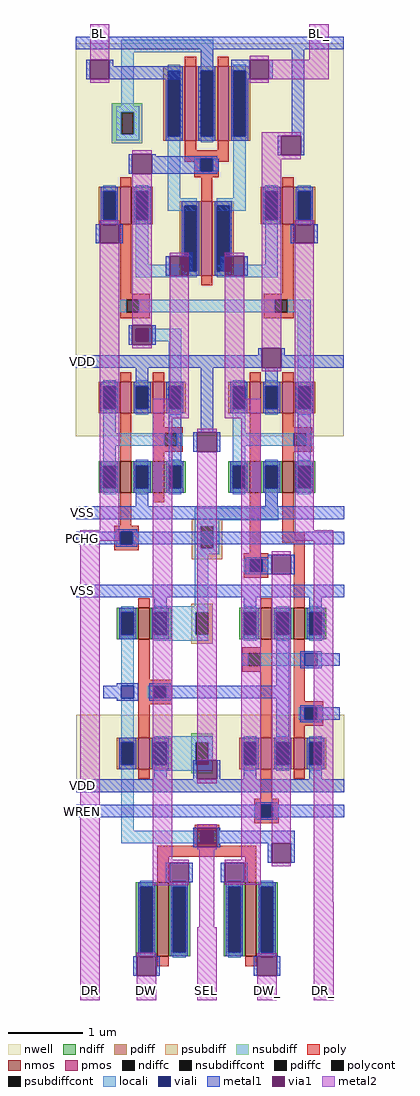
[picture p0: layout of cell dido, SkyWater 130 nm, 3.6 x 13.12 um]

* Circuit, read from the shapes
.subckt dido BL BL_ DR DR_ DW DW_ PCHG SEL VDD VSS WREN
XM1 VSS PCHG n1 VSS sky130_fd_pr__nfet_01v8 w=0.42 l=0.15
XM2 VSS not_0/A not_0/B VSS sky130_fd_pr__nfet_01v8 w=0.42 l=0.15
XM3 n2 n1 VSS VSS sky130_fd_pr__nfet_01v8 w=0.42 l=0.15
XM4 BL not_0/B DW VSS sky130_fd_pr__nfet_01v8 w=1 l=0.15
XM5 DW_ not_0/B BL_ VSS sky130_fd_pr__nfet_01v8 w=1 l=0.15
XM6 VSS SEL nand2_0/A VSS sky130_fd_pr__nfet_01v8 w=0.42 l=0.15
XM7 not_0/A WREN VSS VSS sky130_fd_pr__nfet_01v8 w=0.42 l=0.15
XM8 n3 nand2_0/A VSS VSS sky130_fd_pr__nfet_01v8 w=0.42 l=0.15
XM9 VSS nand2_0/A not_0/A VSS sky130_fd_pr__nfet_01v8 w=0.42 l=0.15
XM10 VDD PCHG n1 VDD sky130_fd_pr__pfet_01v8 w=0.42 l=0.15
XM11 BL n3 DR VDD sky130_fd_pr__pfet_01v8 w=0.5 l=0.15
XM12 VDD not_0/A not_0/B VDD sky130_fd_pr__pfet_01v8 w=0.42 l=0.15
XM13 n2 n1 VDD VDD sky130_fd_pr__pfet_01v8 w=0.42 l=0.15
XM14 VDD n2 BL VDD sky130_fd_pr__pfet_01v8 w=1 l=0.15
XM15 BL_ n2 BL VDD sky130_fd_pr__pfet_01v8 w=1 l=0.15
XM16 BL_ n2 VDD VDD sky130_fd_pr__pfet_01v8 w=1 l=0.15
XM17 VDD SEL nand2_0/A VDD sky130_fd_pr__pfet_01v8 w=0.42 l=0.15
XM18 not_0/A WREN VDD VDD sky130_fd_pr__pfet_01v8 w=0.42 l=0.15
XM19 n3 nand2_0/A VDD VDD sky130_fd_pr__pfet_01v8 w=0.42 l=0.15
XM20 DR_ n3 BL_ VDD sky130_fd_pr__pfet_01v8 w=0.5 l=0.15
XM21 VDD nand2_0/A not_0/A VDD sky130_fd_pr__pfet_01v8 w=0.42 l=0.15
.ends

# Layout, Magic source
magic
tech sky130A
magscale 1 2
<< nwell >>
rect -199 0 0 324
rect 306 290 521 324
rect 258 218 521 290
rect 19 0 262 1
rect 306 0 521 218
rect -199 -224 -174 0
rect 44 -39 262 0
rect 44 -208 46 -39
rect 480 -224 521 0
rect -199 -524 521 -224
rect -199 -732 -174 -524
rect 132 -732 174 -524
rect 480 -732 521 -524
rect -198 -1689 -125 -1481
rect 510 -1689 522 -1481
<< psubdiff >>
rect 112 -974 194 -955
rect 112 -1034 136 -974
rect 170 -1034 194 -974
rect 112 -1063 194 -1034
<< nsubdiff >>
rect -102 139 -20 163
rect -102 79 -77 139
rect -43 79 -20 139
rect -102 55 -20 79
<< psubdiffcont >>
rect 136 -1034 170 -974
<< nsubdiffcont >>
rect -77 79 -43 139
<< poly >>
rect 94 14 212 36
rect 94 6 135 14
rect 119 -20 135 6
rect 169 6 212 14
rect 169 -20 185 6
rect 119 -36 185 -20
rect 138 -75 168 -36
rect -80 -349 -50 -188
rect 356 -349 386 -162
rect -80 -365 0 -349
rect -80 -399 -64 -365
rect -30 -399 0 -365
rect -80 -415 0 -399
rect 306 -365 386 -349
rect 306 -399 336 -365
rect 370 -399 386 -365
rect 306 -415 386 -399
rect -80 -774 -50 -696
rect 8 -708 38 -696
rect 8 -724 88 -708
rect 8 -758 38 -724
rect 72 -758 88 -724
rect 8 -774 88 -758
rect 268 -775 298 -696
rect 356 -708 386 -696
rect 356 -724 436 -708
rect 356 -758 386 -724
rect 420 -758 436 -724
rect 356 -774 436 -758
rect -80 -973 -50 -910
rect -96 -989 -30 -973
rect -96 -1023 -80 -989
rect -46 -1023 -30 -989
rect -96 -1039 -30 -1023
rect 268 -1047 298 -910
rect 356 -989 386 -910
rect 356 -1019 416 -989
rect 252 -1063 318 -1047
rect 252 -1097 268 -1063
rect 302 -1097 318 -1063
rect 252 -1113 318 -1097
rect 386 -1168 416 -1019
rect 298 -1707 328 -1652
rect 280 -1723 346 -1707
rect 280 -1757 296 -1723
rect 330 -1757 346 -1723
rect 280 -1773 346 -1757
rect 120 -1793 186 -1777
rect 120 -1827 136 -1793
rect 170 -1827 186 -1793
rect 120 -1833 186 -1827
rect 20 -1863 286 -1833
rect 20 -1905 50 -1863
rect 256 -1905 286 -1863
<< polycont >>
rect 135 -20 169 14
rect -64 -399 -30 -365
rect 336 -399 370 -365
rect 38 -758 72 -724
rect 386 -758 420 -724
rect -80 -1023 -46 -989
rect 268 -1097 302 -1063
rect 296 -1757 330 -1723
rect 136 -1827 170 -1793
<< locali >>
rect -77 300 170 334
rect -77 155 -43 300
rect 136 266 170 300
rect -91 139 -29 155
rect -91 79 -77 139
rect -43 79 -29 139
rect -91 63 -29 79
rect 48 -92 82 58
rect 119 -20 135 14
rect 169 -20 185 14
rect 224 -92 258 58
rect 48 -126 126 -92
rect 180 -126 258 -92
rect -38 -271 -4 -166
rect 310 -271 344 -166
rect -38 -305 92 -271
rect 180 -305 344 -271
rect -80 -399 -64 -365
rect -30 -399 336 -365
rect 370 -399 433 -365
rect -4 -477 84 -443
rect 50 -582 84 -477
rect 398 -582 433 -399
rect -126 -724 -92 -674
rect 222 -724 256 -674
rect -126 -758 38 -724
rect 72 -758 88 -724
rect 222 -758 386 -724
rect 420 -758 436 -724
rect -126 -796 -92 -758
rect 222 -796 256 -758
rect 310 -924 344 -871
rect 120 -958 345 -924
rect 120 -974 186 -958
rect -96 -1023 -80 -989
rect -46 -1023 -30 -989
rect 120 -1034 136 -974
rect 170 -1034 186 -974
rect 120 -1050 186 -1034
rect 120 -1190 157 -1050
rect 252 -1097 268 -1063
rect 302 -1097 318 -1063
rect -77 -1793 -43 -1630
rect 280 -1757 296 -1723
rect 330 -1757 346 -1723
rect -77 -1827 136 -1793
rect 170 -1827 186 -1793
<< viali >>
rect 135 -20 169 14
rect -38 -477 -4 -443
rect -80 -1023 -46 -989
rect 268 -1097 302 -1063
rect 296 -1757 330 -1723
<< metal1 >>
rect -199 308 521 342
rect -171 228 -161 280
rect -109 262 -99 280
rect 136 262 170 308
rect 218 262 268 280
rect -109 228 82 262
rect 258 228 268 262
rect 320 228 330 280
rect 381 75 415 308
rect -57 -26 -47 26
rect 5 20 15 26
rect 343 23 353 75
rect 405 23 415 75
rect 5 14 181 20
rect 5 -20 135 14
rect 169 -20 185 14
rect 5 -26 181 -20
rect -145 -214 -135 -162
rect -83 -214 -73 -162
rect 379 -214 389 -162
rect 441 -214 451 -162
rect 43 -301 53 -249
rect 105 -301 115 -238
rect 191 -301 201 -249
rect 253 -301 263 -249
rect -57 -486 -47 -434
rect 5 -486 15 -434
rect 291 -514 301 -496
rect -199 -548 301 -514
rect 353 -514 363 -496
rect 353 -548 521 -514
rect -38 -586 -4 -548
rect 50 -800 84 -670
rect 136 -722 170 -548
rect 310 -586 344 -548
rect 117 -774 127 -722
rect 179 -774 189 -722
rect 398 -800 432 -670
rect -38 -921 -4 -872
rect 310 -921 344 -872
rect -198 -955 522 -921
rect -92 -989 -34 -983
rect -198 -1023 -80 -989
rect -46 -1023 522 -989
rect -92 -1029 -34 -1023
rect 317 -1057 327 -1051
rect 256 -1063 327 -1057
rect 256 -1097 268 -1063
rect 302 -1097 327 -1063
rect 256 -1103 327 -1097
rect 379 -1103 389 -1051
rect -198 -1165 -125 -1131
rect 510 -1165 522 -1131
rect 117 -1655 127 -1603
rect 179 -1655 189 -1603
rect -198 -1689 -125 -1655
rect 510 -1689 522 -1655
rect 284 -1723 342 -1717
rect -198 -1757 296 -1723
rect 330 -1757 522 -1723
rect 284 -1763 342 -1757
rect 117 -1837 127 -1785
rect 179 -1793 189 -1785
rect 179 -1827 389 -1793
rect 179 -1837 189 -1827
rect 317 -1879 327 -1827
rect 379 -1879 389 -1827
rect 43 -1931 53 -1879
rect 105 -1931 115 -1879
rect 191 -1931 201 -1879
rect 253 -1931 263 -1879
rect -45 -2183 -35 -2131
rect 17 -2183 27 -2131
rect 279 -2183 289 -2131
rect 341 -2183 351 -2131
<< via1 >>
rect -161 228 -109 280
rect 268 228 320 280
rect -47 -26 5 26
rect 353 23 405 75
rect -135 -214 -83 -162
rect 389 -214 441 -162
rect 53 -301 105 -249
rect 201 -301 253 -249
rect -47 -443 5 -434
rect -47 -477 -38 -443
rect -38 -477 -4 -443
rect -4 -477 5 -443
rect -47 -486 5 -477
rect 301 -548 353 -496
rect 127 -774 179 -722
rect 327 -1103 379 -1051
rect 127 -1655 179 -1603
rect 127 -1837 179 -1785
rect 327 -1879 379 -1827
rect 53 -1931 105 -1879
rect 201 -1931 253 -1879
rect -35 -2183 17 -2131
rect 289 -2183 341 -2131
<< metal2 >>
rect -161 280 -109 376
rect -161 218 -109 228
rect 268 280 320 290
rect 429 280 481 376
rect 320 228 481 280
rect 268 218 320 228
rect 301 75 405 85
rect -47 26 5 36
rect -135 -162 -83 -152
rect -135 -985 -83 -214
rect -47 -434 5 -26
rect 301 23 353 75
rect 301 13 405 23
rect -47 -496 5 -486
rect 53 -249 105 -239
rect 53 -632 105 -301
rect -187 -1013 -83 -985
rect 8 -684 105 -632
rect 201 -249 253 -239
rect 201 -632 253 -301
rect 301 -496 353 13
rect 301 -558 353 -548
rect 389 -162 441 -152
rect 201 -684 298 -632
rect -187 -2248 -135 -1013
rect 8 -1871 60 -684
rect 127 -722 179 -712
rect 127 -1603 179 -774
rect 127 -1665 179 -1655
rect 127 -1785 179 -1775
rect 127 -1843 179 -1837
rect 8 -1879 105 -1871
rect 8 -1931 53 -1879
rect 8 -1939 105 -1931
rect 133 -2053 173 -1843
rect 246 -1871 298 -684
rect 389 -985 441 -214
rect 389 -1013 493 -985
rect 201 -1879 298 -1871
rect 253 -1931 298 -1879
rect 327 -1051 379 -1041
rect 327 -1827 379 -1103
rect 327 -1889 379 -1879
rect 201 -1938 298 -1931
rect 441 -1985 493 -1013
rect -35 -2131 17 -2121
rect -35 -2248 17 -2183
rect 127 -2248 179 -2053
rect 289 -2131 341 -2122
rect 289 -2248 341 -2183
rect 441 -2248 494 -1985
use sky130_fd_pr__pfet_01v8_5SMHNA  m1 ~/Desktop/FabRAM/FE/sram130/dido
transform -1 0 109 0 1 162
box -109 -162 109 162
use sky130_fd_pr__pfet_01v8_523TXA  m4 ~/Desktop/FabRAM/FE/sram130/dido
transform 1 0 -65 0 1 -112
box -109 -112 109 112
use sky130_fd_pr__pfet_01v8_523TXA  m5
transform -1 0 371 0 1 -112
box -109 -112 109 112
use sky130_fd_pr__nfet_01v8_L8ATA9  m6 ~/Desktop/FabRAM/FE/sram130/dido
transform -1 0 35 0 1 -2031
box -73 -126 73 126
use sky130_fd_pr__nfet_01v8_L8ATA9  m7
transform 1 0 271 0 1 -2031
box -73 -126 73 126
use sky130_fd_pr__nfet_01v8_A6LSUL  m8 ~/Desktop/FabRAM/FE/sram130/common
transform -1 0 -65 0 1 -842
box -73 -68 73 68
use sky130_fd_pr__pfet_01v8_4Y88KP  m9 ~/Desktop/FabRAM/FE/sram130/common
transform -1 0 -65 0 1 -628
box -109 -104 109 104
use sky130_fd_pr__pfet_01v8_4Y88KP  m10
transform 1 0 23 0 1 -628
box -109 -104 109 104
use sky130_fd_pr__nfet_01v8_A6LSUL  m11
transform 1 0 23 0 1 -842
box -73 -68 73 68
use sky130_fd_pr__nfet_01v8_A6LSUL  m12
transform -1 0 283 0 1 -842
box -73 -68 73 68
use sky130_fd_pr__pfet_01v8_4Y88KP  m13
transform -1 0 283 0 1 -628
box -109 -104 109 104
use sky130_fd_pr__pfet_01v8_4Y88KP  m14
transform 1 0 371 0 1 -628
box -109 -104 109 104
use sky130_fd_pr__nfet_01v8_A6LSUL  m15
transform 1 0 371 0 1 -842
box -73 -68 73 68
use nand2  nand2_0 ~/Desktop/FabRAM/FE/sram130/nand2
transform -1 0 510 0 -1 -1040
box 0 91 306 649
use not  not_0 ~/Desktop/FabRAM/FE/sram130/not
transform -1 0 205 0 -1 -1040
box 0 91 330 649
use sky130_fd_pr__pfet_01v8_5SMHNA  sky130_fd_pr__pfet_01v8_5SMHNA_0
transform 1 0 197 0 1 162
box -109 -162 109 162
use sky130_fd_pr__pfet_01v8_5SMHNA  sky130_fd_pr__pfet_01v8_5SMHNA_1
transform 1 0 153 0 1 -201
box -109 -162 109 162
<< labels >>
rlabel metal2 -161 324 -109 376 0 BL
rlabel metal2 429 324 481 376 0 BL_
rlabel metal2 -187 -2248 -135 -2196 0 DR
rlabel metal2 -35 -2248 17 -2196 0 DW
rlabel metal2 127 -2248 179 -2196 0 SEL
rlabel metal2 289 -2248 341 -2196 0 DW_
rlabel metal2 441 -2248 493 -2196 0 DR_
rlabel metal1 -199 -548 -165 -514 0 VDD
rlabel metal1 -198 -955 -164 -921 0 VSS
rlabel metal1 -198 -1023 -164 -989 0 PCHG
rlabel metal1 -198 -1165 -164 -1131 0 VSS
rlabel metal1 -198 -1689 -164 -1655 0 VDD
rlabel metal1 -198 -1757 -164 -1723 0 WREN
<< end >>

# cell sky130_fd_pr__pfet_01v8_5SMHNA: kit device sky130_fd_pr__pfet_01v8, w 1 l 0.15 m 1 nf 1 diffcov 100 polycov 100 guard 0 glc 0 grc 0 gtc 0 gbc 0 tbcov 100 rlcov 100 topc 0 botc 0 poverlap 0 doverlap 0 lmin 0.15 wmin 0.42 compatible {sky130_fd_pr__pfet_01v8 sky130_fd_pr__pfet_01v8_lvt sky130_fd_pr__pfet_01v8_hvt sky130_fd_pr__pfet_g5v0d10v5} full_metal 0 viasrc 100 viadrn 100 viagate 100 viagb 0 viagr 0 viagl 0 viagt 0

# cell sky130_fd_pr__pfet_01v8_523TXA: kit device sky130_fd_pr__pfet_01v8, w 0.5 l 0.15 m 1 nf 1 diffcov 100 polycov 100 guard 0 glc 0 grc 0 gtc 0 gbc 0 tbcov 100 rlcov 100 topc 0 botc 0 poverlap 0 doverlap 0 lmin 0.15 wmin 0.42 compatible {sky130_fd_pr__pfet_01v8 sky130_fd_pr__pfet_01v8_lvt sky130_fd_pr__pfet_01v8_hvt sky130_fd_pr__pfet_g5v0d10v5} full_metal 0 viasrc 100 viadrn 100 viagate 100 viagb 0 viagr 0 viagl 0 viagt 0

# cell sky130_fd_pr__nfet_01v8_L8ATA9: kit device sky130_fd_pr__nfet_01v8, w 1 l 0.150 m 1 nf 1 diffcov 100 polycov 100 guard 0 glc 0 grc 0 gtc 0 gbc 0 tbcov 100 rlcov 100 topc 0 botc 0 poverlap 0 doverlap 0 lmin 0.15 wmin 0.42 compatible {sky130_fd_pr__nfet_01v8 sky130_fd_pr__nfet_01v8_lvt sky130_fd_bs_flash__special_sonosfet_star sky130_fd_pr__nfet_g5v0d10v5 sky130_fd_pr__nfet_05v0_nvt sky130_fd_pr__nfet_03v3_nvt} full_metal 0 viasrc 100 viadrn 100 viagate 100 viagb 0 viagr 0 viagl 0 viagt 0

# cell sky130_fd_pr__nfet_01v8_A6LSUL: kit device sky130_fd_pr__nfet_01v8, w 0.420 l 0.150 m 1 nf 1 diffcov 100 polycov 100 guard 0 glc 0 grc 0 gtc 0 gbc 0 tbcov 100 rlcov 100 topc 0 botc 0 poverlap 0 doverlap 0 lmin 0.15 wmin 0.42 compatible {sky130_fd_pr__nfet_01v8 sky130_fd_pr__nfet_01v8_lvt sky130_fd_bs_flash__special_sonosfet_star sky130_fd_pr__nfet_g5v0d10v5 sky130_fd_pr__nfet_05v0_nvt sky130_fd_pr__nfet_03v3_nvt} full_metal 0 viasrc 100 viadrn 100 viagate 100 viagb 0 viagr 0 viagl 0 viagt 0

# cell sky130_fd_pr__pfet_01v8_4Y88KP: kit device sky130_fd_pr__pfet_01v8, w 0.42 l 0.15 m 1 nf 1 diffcov 100 polycov 100 guard 0 glc 0 grc 0 gtc 0 gbc 0 tbcov 100 rlcov 100 topc 0 botc 0 poverlap 0 doverlap 0 lmin 0.15 wmin 0.42 compatible {sky130_fd_pr__pfet_01v8 sky130_fd_pr__pfet_01v8_lvt sky130_fd_pr__pfet_01v8_hvt sky130_fd_pr__pfet_g5v0d10v5} full_metal 0 viasrc 100 viadrn 100 viagate 100 viagb 0 viagr 0 viagl 0 viagt 0

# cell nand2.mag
magic
tech sky130A
magscale 1 2
<< poly >>
rect 94 471 124 477
rect 44 455 124 471
rect 44 421 60 455
rect 94 421 124 455
rect 44 405 124 421
rect 94 264 124 405
rect 182 326 212 477
rect 182 310 262 326
rect 182 276 212 310
rect 246 276 262 310
rect 182 264 262 276
rect 212 260 262 264
<< polycont >>
rect 60 421 94 455
rect 212 276 246 310
<< locali >>
rect 44 421 60 455
rect 94 421 110 455
rect 48 276 60 310
rect 94 276 212 310
rect 246 276 262 310
<< viali >>
rect 60 421 94 455
rect 60 276 94 310
<< metal1 >>
rect 0 615 306 649
rect 48 587 82 615
rect 224 587 258 615
rect 48 455 106 461
rect 0 421 60 455
rect 94 421 106 455
rect 48 415 106 421
rect 136 397 170 503
rect 136 363 306 397
rect 48 310 106 316
rect 0 276 60 310
rect 94 276 106 310
rect 48 270 106 276
rect 136 238 170 363
rect 48 125 82 154
rect 224 125 258 154
rect 0 91 306 125
use sky130_fd_pr__nfet_01v8_A6LSUL  m1 ~/Desktop/FabRAM/FE/sram130/common
transform 1 0 109 0 1 196
box -73 -68 73 68
use sky130_fd_pr__nfet_01v8_A6LSUL  m2
transform -1 0 197 0 1 196
box -73 -68 73 68
use sky130_fd_pr__pfet_01v8_4Y88KP  m3 ~/Desktop/FabRAM/FE/sram130/common
transform 1 0 109 0 1 545
box -109 -104 109 104
use sky130_fd_pr__pfet_01v8_4Y88KP  m4
transform -1 0 197 0 1 545
box -109 -104 109 104
<< labels >>
rlabel metal1 0 615 34 649 0 VDD
rlabel metal1 0 421 34 455 0 A
rlabel metal1 0 276 34 310 0 B
rlabel metal1 0 91 34 125 0 VSS
rlabel metal1 272 363 306 397 0 Y
<< end >>

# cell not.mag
magic
tech sky130A
magscale 1 2
<< nwell >>
rect 0 441 112 649
<< psubdiff >>
rect 36 226 94 250
rect 36 166 48 226
rect 82 166 94 226
rect 36 142 94 166
<< nsubdiff >>
rect 36 575 94 599
rect 36 515 48 575
rect 82 515 94 575
rect 36 491 94 515
<< psubdiffcont >>
rect 48 166 82 226
<< nsubdiffcont >>
rect 48 515 82 575
<< poly >>
rect 206 413 236 477
rect 145 397 236 413
rect 145 363 161 397
rect 195 363 236 397
rect 145 347 236 363
rect 206 264 236 347
<< polycont >>
rect 161 363 195 397
<< locali >>
rect 36 575 194 591
rect 36 515 48 575
rect 82 515 194 575
rect 36 499 194 515
rect 248 397 282 499
rect 145 363 161 397
rect 195 363 211 397
rect 248 242 282 363
rect 48 226 194 242
rect 82 166 194 226
rect 48 150 194 166
<< viali >>
rect 161 363 195 397
rect 248 363 282 397
<< metal1 >>
rect 0 615 330 649
rect 160 587 194 615
rect 149 397 207 403
rect 0 363 161 397
rect 195 363 207 397
rect 149 357 207 363
rect 236 397 294 403
rect 236 363 248 397
rect 282 363 330 397
rect 236 357 294 363
rect 160 125 194 154
rect 0 91 330 125
use sky130_fd_pr__pfet_01v8_4Y88KP  m1 ~/Desktop/FabRAM/FE/sram130/common
transform 1 0 221 0 1 545
box -109 -104 109 104
use sky130_fd_pr__nfet_01v8_A6LSUL  m2 ~/Desktop/FabRAM/FE/sram130/common
transform 1 0 221 0 1 196
box -73 -68 73 68
<< labels >>
rlabel metal1 296 363 330 397 0 B
rlabel metal1 0 615 34 649 0 VDD
rlabel metal1 0 363 34 397 0 A
rlabel metal1 0 91 34 125 0 VSS
<< end >>
